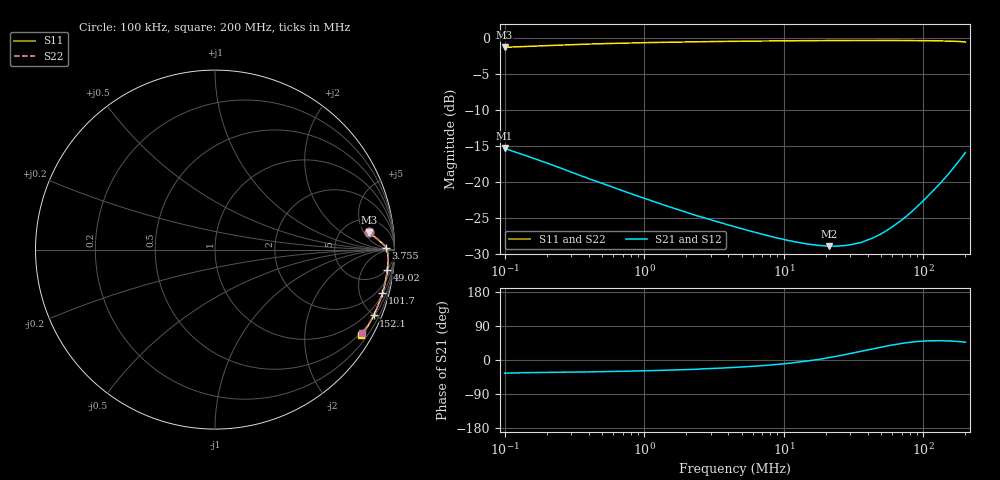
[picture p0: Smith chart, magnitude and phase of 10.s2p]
#  HZ  S  RI  R  50.00
! Rohde & Schwarz Vector Network Analyzer
! Rohde-Schwarz,ZNLE6-2Port,1323001256200024,1.71.1.10-23.02.1.238
! Created: UTC 4/11/2025, 6:54:32 AM
! freq[Hz]  re:S11  im:S11  re:S21  im:S21  re:S12  im:S12  re:S22  im:S22
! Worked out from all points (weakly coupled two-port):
!   1001 points, 100 kHz to 200 MHz, reference 50 ohm
!   highest |S21| = -15.31 dB at 100 kHz (marker M1); lowest = -28.9 dB at 21.08 MHz (marker M2)
!   lowest |S11| = -1.2 dB at 100 kHz (marker M3), VSWR 13.94, Z = 433 + j337 ohm
!   |S11| at or under -10 dB: nowhere
!   |S22| runs from -1.3 to -0.3 dB; largest |S21 - S12| = 0.003
!   S11 on the Smith chart (normalised r, x): 100 kHz: 9, +7; 3.755 MHz: 39, +9; 49.02 MHz: 4, -15; 101.7 MHz: 1.10, -7.63; 152.1 MHz: 0.57, -4.96; 200 MHz: 0.42, -3.63
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100000  0.8607 0.0973  0.1408 -0.0979  0.141 -0.098  0.8605 0.0971
189359.2  0.8847 0.0743  0.1164 -0.0751  0.1165 -0.0752  0.8845 0.0744
355854.1  0.9074 0.0573  0.0935 -0.0582  0.094 -0.058  0.9068 0.0571
1266322  0.9371 0.0302  0.0632 -0.033  0.0632 -0.033  0.9371 0.0303
2397897  0.9469 0.0193  0.053 -0.024  0.053 -0.024  0.947 0.0193
3754839  0.9525 0.0102  0.0478 -0.0182  0.0476 -0.0188  0.9527 0.0119
4472136  0.9543 0.00742  0.046 -0.0162  0.0459 -0.0166  0.9546 0.00863
8796434  0.9601 -0.0084  0.0401 -0.00835  0.0401 -0.00918  0.9602 -0.00724
1.591428e7  0.9631 -0.0289  0.0367 -0.000625  0.0367 -0.000948  0.9633 -0.0277
2.108265e7  0.9639 -0.0433  0.0356 0.00393  0.0357 0.00317  0.9641 -0.0414
2.729984e7  0.9639 -0.0592  0.0351 0.00876  0.0351 0.00855  0.9642 -0.0575
3.37745e7  0.9633 -0.076  0.0351 0.0134  0.0351 0.0133  0.9635 -0.0738
4.115435e7  0.9619 -0.0952  0.0353 0.0187  0.0355 0.018  0.9624 -0.092
4.901618e7  0.9598 -0.1151  0.036 0.024  0.0363 0.0233  0.9604 -0.1112
5.663162e7  0.9573 -0.1342  0.037 0.029  0.0374 0.0282  0.958 -0.1298
7.559589e7  0.9489 -0.1809  0.0406 0.0412  0.0413 0.0403  0.9498 -0.1753
1.016807e8  0.9329 -0.2438  0.0484 0.0578  0.0496 0.0568  0.9343 -0.2375
1.238982e8  0.914 -0.2969  0.058 0.0711  0.0592 0.0699  0.9166 -0.2901
1.521223e8  0.8843 -0.3667  0.0731 0.0883  0.0744 0.0869  0.8883 -0.3569
1.731053e8  0.8574 -0.4169  0.0874 0.1009  0.0893 0.0991  0.8625 -0.4059
1.940108e8  0.8244 -0.4648  0.1042 0.1133  0.1063 0.1112  0.831 -0.4535
2e8  0.8131 -0.4772  0.1096 0.1175  0.1117 0.1154  0.8209 -0.4665
